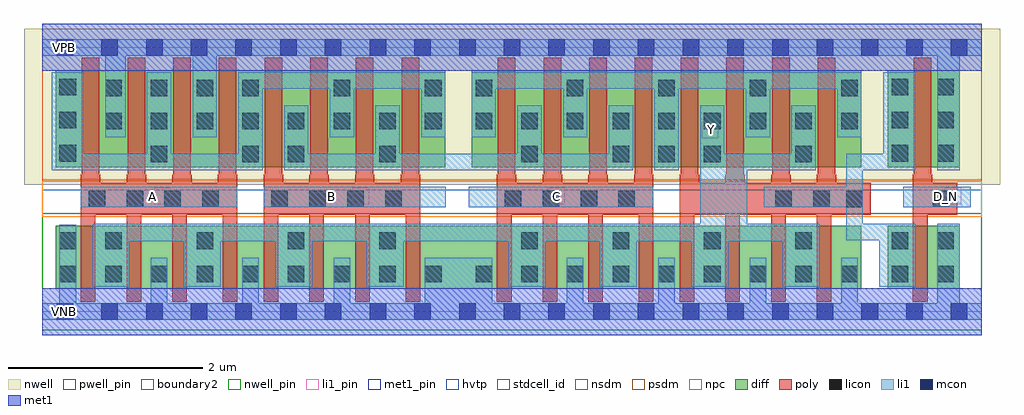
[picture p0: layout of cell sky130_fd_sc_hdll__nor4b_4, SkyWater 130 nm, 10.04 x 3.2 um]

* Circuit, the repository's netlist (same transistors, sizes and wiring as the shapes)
* Copyright 2020 The SkyWater PDK Authors
*
* Licensed under the Apache License, Version 2.0 (the "License");
* you may not use this file except in compliance with the License.
* You may obtain a copy of the License at
*
*     https://www.apache.org/licenses/LICENSE-2.0
*
* Unless required by applicable law or agreed to in writing, software
* distributed under the License is distributed on an "AS IS" BASIS,
* WITHOUT WARRANTIES OR CONDITIONS OF ANY KIND, either express or implied.
* See the License for the specific language governing permissions and
* limitations under the License.
*
* SPDX-License-Identifier: Apache-2.0

.SUBCKT sky130_fd_sc_hdll__nor4b_4 A B C D_N VGND VNB VPB VPWR Y
*.PININFO A:I B:I C:I D_N:I VGND:I VNB:I VPB:I VPWR:I Y:O
MMP0 VPWR A sndPA VPB sky130_fd_pr__pfet_01v8_hvt m=4 w=1.0U l=0.18U mult=1 sa=0.265
+ sb=0.265 sd=0.28 area=0.063 perim=1.14
MMP1 sndPA B sndPB VPB sky130_fd_pr__pfet_01v8_hvt m=4 w=1.0U l=0.18U mult=1 sa=0.265
+ sb=0.265 sd=0.28 area=0.063 perim=1.14
MMP2 sndPB C sndPC VPB sky130_fd_pr__pfet_01v8_hvt m=4 w=1.0U l=0.18U mult=1 sa=0.265
+ sb=0.265 sd=0.28 area=0.063 perim=1.14
MMP3 sndPC D Y VPB sky130_fd_pr__pfet_01v8_hvt m=4 w=1.0U l=0.18U mult=1 sa=0.265
+ sb=0.265 sd=0.28 area=0.063 perim=1.14
MMIP3 D D_N VPWR VPB sky130_fd_pr__pfet_01v8_hvt m=1 w=1.0U l=0.18U mult=1 sa=0.265
+ sb=0.265 sd=0.28 area=0.063 perim=1.14
MMN0 Y A VGND VNB sky130_fd_pr__nfet_01v8 m=4 w=0.65U l=0.15U mult=1 sa=0.265 sb=0.265
+ sd=0.28 area=0.063 perim=1.14
MMN1 Y B VGND VNB sky130_fd_pr__nfet_01v8 m=4 w=0.65U l=0.15U mult=1 sa=0.265 sb=0.265
+ sd=0.28 area=0.063 perim=1.14
MMN2 Y C VGND VNB sky130_fd_pr__nfet_01v8 m=4 w=0.65U l=0.15U mult=1 sa=0.265 sb=0.265
+ sd=0.28 area=0.063 perim=1.14
MMN3 Y D VGND VNB sky130_fd_pr__nfet_01v8 m=4 w=0.65U l=0.15U mult=1 sa=0.265 sb=0.265
+ sd=0.28 area=0.063 perim=1.14
MMIN3 D D_N VGND VNB sky130_fd_pr__nfet_01v8 m=1 w=0.65U l=0.15U mult=1 sa=0.265
+ sb=0.265 sd=0.28 area=0.063 perim=1.14
.ENDS sky130_fd_sc_hdll__nor4b_4

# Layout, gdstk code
import gdstk
lib = gdstk.Library(unit=1e-6, precision=1e-09)
def R(c, l, rs):  # rectangles x0, y0, x1, y1
    for r in rs: c.add(gdstk.rectangle(r[:2], r[2:], *l))
def A(c, l, x, y, w, h, nx, ny, dx, dy):  # array of equal rectangles
    R(c, l, [(x+i*dx, y+j*dy, x+i*dx+w, y+j*dy+h) for i in range(nx) for j in range(ny)])
def P(c, l, *ps):  # polygons
    for p in ps: c.add(gdstk.Polygon(p, *l))
nwell_pin = (64, 16)
nwell = (64, 20)
diff = (65, 20)
poly = (66, 20)
licon = (66, 44)
li1_pin = (67, 16)
li1 = (67, 20)
mcon = (67, 44)
met1_pin = (68, 16)
met1 = (68, 20)
hvtp = (78, 44)
stdcell_id = (81, 4)
nsdm = (93, 44)
psdm = (94, 20)
npc = (95, 20)
pwell_pin = (122, 16)
boundary2 = (236, 0)

sky130_fd_sc_hdll__nor4b = lib.new_cell('sky130_fd_sc_hdll__nor4b_4')
R(sky130_fd_sc_hdll__nor4b, nwell_pin, [(0.145,2.635,0.315,2.805)])
R(sky130_fd_sc_hdll__nor4b, nwell, [(-0.19,1.305,9.85,2.91)])
R(sky130_fd_sc_hdll__nor4b, diff, [(0.135,0.235,8.425,0.885), (8.695,0.235,9.435,0.885), (0.135,1.485,4.145,2.485), (4.415,1.485,8.425,2.485), (8.695,1.485,9.435,2.485)])
P(sky130_fd_sc_hdll__nor4b, poly, [(2.005,1.41),(1.995,1.41),(1.995,2.615),(1.815,2.615),(1.815,1.41),(1.805,1.41),(1.805,1.325),(1.535,1.325),(1.535,1.41),(1.525,1.41),(1.525,2.615),(1.345,2.615),(1.345,1.41),(1.335,1.41),(1.335,1.325),(1.065,1.325),(1.065,1.41),(1.055,1.41),(1.055,2.615),(0.875,2.615),(0.875,1.41),(0.865,1.41),(0.865,1.325),(0.595,1.325),(0.595,1.41),(0.585,1.41),(0.585,2.615),(0.405,2.615),(0.405,1.41),(0.395,1.41),(0.395,0.105),(0.545,0.105),(0.545,0.995),(0.865,0.995),(0.865,0.105),(1.015,0.105),(1.015,0.995),(1.335,0.995),(1.335,0.105),(1.485,0.105),(1.485,0.995),(1.855,0.995),(1.855,0.105),(2.005,0.105)],
  [(3.885,1.41),(3.875,1.41),(3.875,2.615),(3.695,2.615),(3.695,1.41),(3.685,1.41),(3.685,1.325),(3.415,1.325),(3.415,1.41),(3.405,1.41),(3.405,2.615),(3.225,2.615),(3.225,1.41),(3.215,1.41),(3.215,1.325),(2.945,1.325),(2.945,1.41),(2.935,1.41),(2.935,2.615),(2.755,2.615),(2.755,1.41),(2.745,1.41),(2.745,1.325),(2.475,1.325),(2.475,1.41),(2.465,1.41),(2.465,2.615),(2.285,2.615),(2.285,1.41),(2.275,1.41),(2.275,0.105),(2.425,0.105),(2.425,0.995),(2.745,0.995),(2.745,0.105),(2.895,0.105),(2.895,0.995),(3.215,0.995),(3.215,0.105),(3.365,0.105),(3.365,0.995),(3.735,0.995),(3.735,0.105),(3.885,0.105)],
  [(6.285,1.41),(6.275,1.41),(6.275,2.615),(6.095,2.615),(6.095,1.41),(6.085,1.41),(6.085,1.325),(5.815,1.325),(5.815,1.41),(5.805,1.41),(5.805,2.615),(5.625,2.615),(5.625,1.41),(5.615,1.41),(5.615,1.325),(5.345,1.325),(5.345,1.41),(5.335,1.41),(5.335,2.615),(5.155,2.615),(5.155,1.41),(5.145,1.41),(5.145,1.325),(4.875,1.325),(4.875,1.41),(4.865,1.41),(4.865,2.615),(4.685,2.615),(4.685,1.41),(4.675,1.41),(4.675,0.105),(4.825,0.105),(4.825,0.995),(5.145,0.995),(5.145,0.105),(5.295,0.105),(5.295,0.995),(5.615,0.995),(5.615,0.105),(5.765,0.105),(5.765,0.995),(6.135,0.995),(6.135,0.105),(6.285,0.105)],
  [(8.52,1.325),(8.165,1.325),(8.165,1.41),(8.155,1.41),(8.155,2.615),(7.975,2.615),(7.975,1.41),(7.965,1.41),(7.965,1.325),(7.695,1.325),(7.695,1.41),(7.685,1.41),(7.685,2.615),(7.505,2.615),(7.505,1.41),(7.495,1.41),(7.495,1.325),(7.225,1.325),(7.225,1.41),(7.215,1.41),(7.215,2.615),(7.035,2.615),(7.035,1.41),(7.025,1.41),(7.025,1.325),(6.755,1.325),(6.755,1.41),(6.745,1.41),(6.745,2.615),(6.565,2.615),(6.565,1.41),(6.555,1.41),(6.555,0.105),(6.705,0.105),(6.705,0.995),(7.025,0.995),(7.025,0.105),(7.175,0.105),(7.175,0.995),(7.495,0.995),(7.495,0.105),(7.645,0.105),(7.645,0.995),(7.965,0.995),(7.965,0.105),(8.115,0.105),(8.115,0.995),(8.52,0.995)],
  [(9.41,1.325),(9.155,1.325),(9.155,1.41),(9.145,1.41),(9.145,2.615),(8.965,2.615),(8.965,1.41),(8.955,1.41),(8.955,0.105),(9.105,0.105),(9.105,0.995),(9.41,0.995)])
A(sky130_fd_sc_hdll__nor4b, licon, 0.175, 0.305, 0.17, 0.17, 9, 1, 0.47, 0)
A(sky130_fd_sc_hdll__nor4b, licon, 4.455, 0.305, 0.17, 0.17, 9, 2, 0.47, 1.57)
A(sky130_fd_sc_hdll__nor4b, licon, 0.645, 0.645, 0.17, 0.17, 4, 1, 0.94, 0)
A(sky130_fd_sc_hdll__nor4b, licon, 4.925, 0.645, 0.17, 0.17, 4, 1, 0.94, 0)
A(sky130_fd_sc_hdll__nor4b, licon, 0.475, 1.075, 0.17, 0.17, 4, 1, 0.39, 0)
A(sky130_fd_sc_hdll__nor4b, licon, 2.355, 1.075, 0.17, 0.17, 4, 1, 0.39, 0)
A(sky130_fd_sc_hdll__nor4b, licon, 4.755, 1.075, 0.17, 0.17, 4, 1, 0.39, 0)
A(sky130_fd_sc_hdll__nor4b, licon, 5.865, 1.535, 0.17, 0.17, 3, 1, 0.47, 0)
A(sky130_fd_sc_hdll__nor4b, licon, 0.175, 1.545, 0.17, 0.17, 1, 3, 0, 0.34)
A(sky130_fd_sc_hdll__nor4b, licon, 8.735, 1.545, 0.17, 0.17, 1, 3, 0, 0.34)
A(sky130_fd_sc_hdll__nor4b, licon, 9.205, 1.545, 0.17, 0.17, 1, 3, 0, 0.34)
A(sky130_fd_sc_hdll__nor4b, licon, 0.645, 1.875, 0.17, 0.17, 8, 1, 0.47, 0)
A(sky130_fd_sc_hdll__nor4b, licon, 0.645, 2.215, 0.17, 0.17, 4, 1, 0.47, 0)
A(sky130_fd_sc_hdll__nor4b, licon, 4.455, 2.215, 0.17, 0.17, 5, 1, 0.94, 0)
R(sky130_fd_sc_hdll__nor4b, licon, [(8.735,0.305,8.905,0.475), (9.205,0.305,9.375,0.475), (0.175,0.645,0.345,0.815), (8.735,0.645,8.905,0.815), (9.205,0.645,9.375,0.815), (7.54,1.075,7.71,1.245), (7.93,1.075,8.1,1.245), (8.27,1.075,8.44,1.245), (9.16,1.075,9.33,1.245), (1.115,1.535,1.285,1.705), (2.055,1.535,2.225,1.705), (2.525,1.535,2.695,1.705), (3.465,1.535,3.635,1.705), (4.925,1.535,5.095,1.705), (7.745,1.535,7.915,1.705), (2.995,2.215,3.165,2.385), (3.935,2.215,4.105,2.385)])
R(sky130_fd_sc_hdll__nor4b, li1_pin, [(1.15,1.105,1.32,1.275), (3.19,1.105,3.36,1.275), (5.195,1.105,5.375,1.275), (9.28,1.105,9.45,1.275), (6.78,1.785,6.95,1.955)])
R(sky130_fd_sc_hdll__nor4b, li1, [(0.395,1.075,2.005,1.285), (2.275,1.075,4.15,1.285), (4.385,1.075,6.285,1.285), (8.855,1.075,9.55,1.285)])
P(sky130_fd_sc_hdll__nor4b, li1, [(9.66,0.085),(9.435,0.085),(9.435,0.905),(9.205,0.905),(9.205,0.085),(8.385,0.085),(8.385,0.555),(8.215,0.555),(8.215,0.085),(7.445,0.085),(7.445,0.555),(7.275,0.555),(7.275,0.085),(6.505,0.085),(6.505,0.555),(6.335,0.555),(6.335,0.085),(5.565,0.085),(5.565,0.555),(5.395,0.555),(5.395,0.085),(4.625,0.085),(4.625,0.555),(3.935,0.555),(3.935,0.085),(3.165,0.085),(3.165,0.555),(2.995,0.555),(2.995,0.085),(2.225,0.085),(2.225,0.555),(2.055,0.555),(2.055,0.085),(1.285,0.085),(1.285,0.555),(1.115,0.555),(1.115,0.085),(0.345,0.085),(0.345,0.895),(0.175,0.895),(0.175,0.085),(0,0.085),(0,-0.085),(9.66,-0.085)],
  [(9.66,2.805),(0,2.805),(0,2.635),(0.645,2.635),(0.645,1.795),(0.855,1.795),(0.855,2.635),(1.545,2.635),(1.545,1.795),(1.795,1.795),(1.795,2.635),(9.205,2.635),(9.205,1.455),(9.435,1.455),(9.435,2.635),(9.66,2.635)],
  [(4.145,2.465),(2.015,2.465),(2.015,1.625),(1.325,1.625),(1.325,2.465),(1.075,2.465),(1.075,1.625),(0.425,1.625),(0.425,2.465),(0.095,2.465),(0.095,1.455),(2.265,1.455),(2.265,2.295),(2.955,2.295),(2.955,1.795),(3.205,1.795),(3.205,2.295),(3.895,2.295),(3.895,1.795),(4.145,1.795)],
  [(6.075,2.125),(5.825,2.125),(5.825,1.625),(5.135,1.625),(5.135,2.125),(4.885,2.125),(4.885,1.625),(3.675,1.625),(3.675,2.125),(3.425,2.125),(3.425,1.625),(2.735,1.625),(2.735,2.125),(2.485,2.125),(2.485,1.455),(6.075,1.455)],
  [(7.995,0.905),(7.25,0.905),(7.25,1.455),(7.955,1.455),(7.955,2.125),(7.705,2.125),(7.705,1.625),(7.015,1.625),(7.015,2.125),(6.765,2.125),(6.765,0.905),(0.515,0.905),(0.515,0.255),(0.895,0.255),(0.895,0.725),(1.455,0.725),(1.455,0.255),(1.835,0.255),(1.835,0.725),(2.395,0.725),(2.395,0.255),(2.775,0.255),(2.775,0.725),(3.335,0.725),(3.335,0.255),(3.715,0.255),(3.715,0.725),(4.795,0.725),(4.795,0.255),(5.175,0.255),(5.175,0.725),(5.735,0.725),(5.735,0.255),(6.115,0.255),(6.115,0.725),(6.675,0.725),(6.675,0.255),(7.055,0.255),(7.055,0.725),(7.615,0.725),(7.615,0.255),(7.995,0.255)],
  [(8.425,2.465),(4.415,2.465),(4.415,1.795),(4.665,1.795),(4.665,2.295),(5.355,2.295),(5.355,1.795),(5.605,1.795),(5.605,2.295),(6.295,2.295),(6.295,1.455),(6.545,1.455),(6.545,2.295),(7.235,2.295),(7.235,1.795),(7.485,1.795),(7.485,2.295),(8.175,2.295),(8.175,1.795),(8.425,1.795)],
  [(8.985,0.905),(8.44,0.905),(8.44,1.455),(8.985,1.455),(8.985,2.465),(8.65,2.465),(8.65,1.625),(8.27,1.625),(8.27,1.285),(7.42,1.285),(7.42,1.075),(8.27,1.075),(8.27,0.735),(8.61,0.735),(8.61,0.255),(8.985,0.255)])
A(sky130_fd_sc_hdll__nor4b, mcon, 0.145, -0.085, 0.17, 0.17, 21, 2, 0.46, 2.72)
R(sky130_fd_sc_hdll__nor4b, met1_pin, [(0.145,-0.085,0.315,0.085), (0.145,2.635,0.315,2.805)])
R(sky130_fd_sc_hdll__nor4b, met1, [(0,-0.24,9.66,0.24), (0,2.48,9.66,2.96)])
R(sky130_fd_sc_hdll__nor4b, hvtp, [(0,1.25,9.66,2.72)])
R(sky130_fd_sc_hdll__nor4b, stdcell_id, [(0,0,9.66,2.72)])
R(sky130_fd_sc_hdll__nor4b, nsdm, [(0,-0.19,9.66,1.015)])
R(sky130_fd_sc_hdll__nor4b, psdm, [(0,1.355,9.66,2.91)])
R(sky130_fd_sc_hdll__nor4b, npc, [(0,0.975,9.66,1.345)])
R(sky130_fd_sc_hdll__nor4b, pwell_pin, [(0.145,-0.085,0.315,0.085)])
R(sky130_fd_sc_hdll__nor4b, boundary2, [(0,0,9.66,2.72)])
sky130_fd_sc_hdll__nor4b.add(gdstk.Label('B', (2.975,1.19), layer=67, texttype=5))
sky130_fd_sc_hdll__nor4b.add(gdstk.Label('A', (1.135,1.19), layer=67, texttype=5))
sky130_fd_sc_hdll__nor4b.add(gdstk.Label('D_N', (9.285,1.19), layer=67, texttype=5))
sky130_fd_sc_hdll__nor4b.add(gdstk.Label('C', (5.29,1.19), layer=67, texttype=5))
sky130_fd_sc_hdll__nor4b.add(gdstk.Label('Y', (6.885,1.87), layer=67, texttype=5))
sky130_fd_sc_hdll__nor4b.add(gdstk.Label('VPB', (0.23,2.72), layer=64, texttype=5))
sky130_fd_sc_hdll__nor4b.add(gdstk.Label('VNB', (0.23,0), layer=64, texttype=59))
sky130_fd_sc_hdll__nor4b.add(gdstk.Label('VGND', (0.245,0), layer=68, texttype=5))
sky130_fd_sc_hdll__nor4b.add(gdstk.Label('VPWR', (0.23,2.72), layer=68, texttype=5))
sky130_fd_sc_hdll__nor4b.add(gdstk.Label('nor4b_4', (0,0), layer=83, texttype=44))

lib.write_gds('sky130_fd_sc_hdll__nor4b_4.gds')
